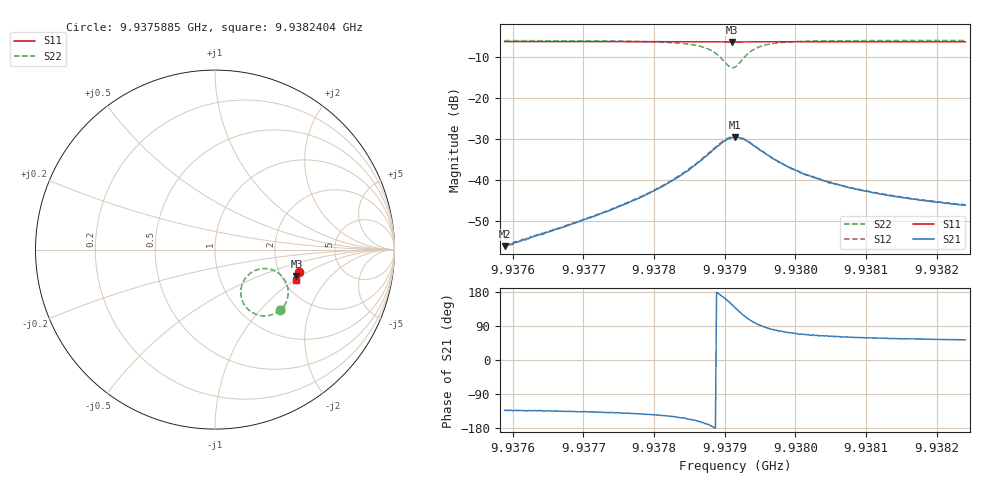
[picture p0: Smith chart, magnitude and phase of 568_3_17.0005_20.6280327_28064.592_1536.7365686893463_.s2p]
#  HZ  S  RI  R  50.00
! Rohde & Schwarz Vector Network Analyzer
! Rohde-Schwarz,ZNB20-2Port,1311601062101988,3.16
! Created: UTC 3/20/2024, 11:17:36 PM
! freq[Hz]  re:S11  im:S11  re:S21  im:S21  re:S12  im:S12  re:S22  im:S22
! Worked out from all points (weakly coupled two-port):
!   401 points, 9.9375885 GHz to 9.9382404 GHz, reference 50 ohm
!   highest |S21| = -29.59 dB at 9.9379145 GHz (marker M1); lowest = -56.1 dB at 9.9375885 GHz (marker M2)
!   lowest |S11| = -6.4 dB at 9.9379096 GHz (marker M3), VSWR 2.82, Z = 121 - j45.9 ohm
!   |S11| at or under -10 dB: nowhere
!   |S22| runs from -12.7 to -6.1 dB; largest |S21 - S12| = 0.0014
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9.93758854e9  0.4653 -0.1273  -0.00106 -0.00115  -0.00112 -0.00115  0.3633 -0.3371
9.93769773e9  0.4624 -0.1346  -0.00233 -0.00221  -0.00237 -0.00219  0.3467 -0.3488
9.93776129e9  0.4609 -0.139  -0.00397 -0.00329  -0.00412 -0.00331  0.3288 -0.3582
9.93780692e9  0.4595 -0.1421  -0.00656 -0.00451  -0.00676 -0.00448  0.3045 -0.3663
9.93784766e9  0.4578 -0.145  -0.0118 -0.00529  -0.0122 -0.0054  0.2589 -0.3683
9.93787211e9  0.4565 -0.1465  -0.0186 -0.00407  -0.0192 -0.00403  0.2059 -0.3494
9.93788514e9  0.4556 -0.1472  -0.0239 -0.000892  -0.0245 -0.000301  0.1686 -0.3147
9.93789655e9  0.4546 -0.1473  -0.028 0.00588  -0.0285 0.00678  0.1448 -0.2548
9.9379047e9  0.4541 -0.1469  -0.0287 0.0132  -0.0291 0.0143  0.1502 -0.1965
9.93790959e9  0.4539 -0.1467  -0.0275 0.0178  -0.0275 0.019  0.168 -0.1614
9.93791448e9  0.4541 -0.1466  -0.0248 0.022  -0.0244 0.0233  0.196 -0.1322
9.937921e9  0.4544 -0.1461  -0.0197 0.0261  -0.019 0.0272  0.2436 -0.1095
9.93792752e9  0.4549 -0.1464  -0.0139 0.0278  -0.0131 0.0285  0.2913 -0.1065
9.93793892e9  0.4556 -0.147  -0.00557 0.0263  -0.00478 0.0269  0.3536 -0.131
9.93795196e9  0.456 -0.1482  9.46e-05 0.0225  0.0007 0.0226  0.3895 -0.1709
9.93798619e9  0.4559 -0.1513  0.00419 0.0144  0.00451 0.0143  0.4079 -0.2424
9.938009e9  0.4554 -0.1532  0.00451 0.0113  0.00474 0.0113  0.4045 -0.2674
9.93802367e9  0.4551 -0.1543  0.00448 0.00988  0.00471 0.00996  0.4014 -0.2785
9.93804974e9  0.4544 -0.156  0.00421 0.00826  0.00445 0.00831  0.3961 -0.2929
9.93807419e9  0.4537 -0.1578  0.00403 0.00708  0.00421 0.00707  0.3913 -0.3024
9.93813286e9  0.4522 -0.1618  0.00359 0.0054  0.00368 0.00543  0.3819 -0.3174
9.93824042e9  0.4492 -0.1686  0.00296 0.00393  0.00305 0.00396  0.3698 -0.3328
